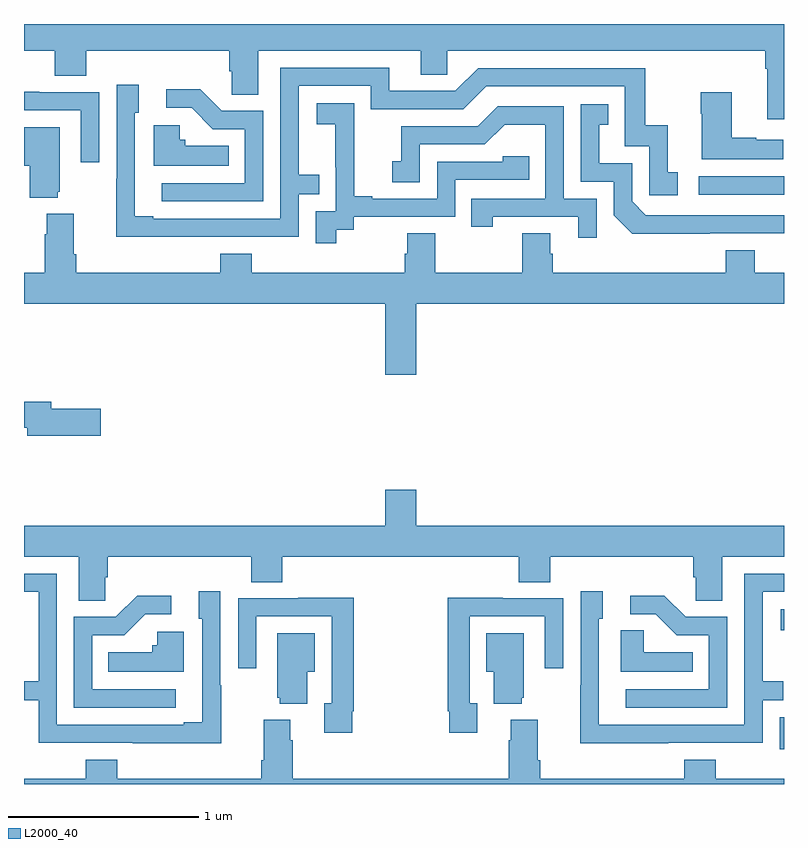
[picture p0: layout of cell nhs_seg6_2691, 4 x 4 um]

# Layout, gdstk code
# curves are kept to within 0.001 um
import gdstk
lib = gdstk.Library(unit=1e-6, precision=1e-09)
def R(c, l, rs):  # rectangles x0, y0, x1, y1
    for r in rs: c.add(gdstk.rectangle(r[:2], r[2:], *l))
def P(c, l, *ps):  # polygons
    for p in ps: c.add(gdstk.Polygon(p, *l))
L2000_40 = (2000, 40)

nhs_seg6_2691 = lib.new_cell('nhs_seg6_2691')
R(nhs_seg6_2691, L2000_40, [(274.977,919.683,275,919.851), (274.983,920.309,275,920.419), (274.551,922.602,275,922.698)])
P(nhs_seg6_2691, L2000_40, [(275,923.5),(271,923.5),(271,923.36),(271.163,923.36),(271.163,923.227),(271.328,923.227),(271.328,923.36),(272.081,923.36),(272.081,923.251),(272.094,923.251),(272.094,923.128),(272.233,923.128),(272.233,923.36),(273.089,923.36),(273.089,923.233),(273.228,923.233),(273.228,923.36),(274.901,923.36),(274.901,923.264),(274.913,923.264),(274.913,922.998),(275,922.998)],
  [(271.949,922.38),(272.445,922.38),(272.445,922.605),(272.555,922.605),(272.555,922.706),(272.445,922.706),(272.445,923.175),(272.826,923.175),(272.826,923.052),(273.312,923.052),(273.432,923.172),(274.161,923.172),(274.161,922.857),(274.29,922.857),(274.29,922.599),(274.441,922.599),(274.441,922.719),(274.388,922.719),(274.388,922.966),(274.27,922.966),(274.27,923.268),(273.39,923.268),(273.27,923.148),(272.923,923.148),(272.923,923.271),(272.349,923.271),(272.349,922.476),(271.681,922.476),(271.681,922.489),(271.584,922.489),(271.584,923.034),(271.603,923.034),(271.603,923.179),(271.488,923.179),(271.488,922.685),(271.486,922.685),(271.486,922.379)],
  [(272.259,923.043),(272.04,923.043),(271.927,923.156),(271.749,923.156),(271.749,923.058),(271.883,923.058),(271.994,922.947),(272.163,922.947),(272.163,922.662),(271.725,922.662),(271.725,922.566),(272.259,922.566)],
  [(271.395,923.142),(271.079,923.142),(271.079,923.144),(271,923.144),(271,923.046),(271.299,923.046),(271.299,922.773),(271.395,922.773)],
  [(274.996,922.891),(274.853,922.891),(274.853,922.901),(274.726,922.901),(274.726,923.14),(274.561,923.14),(274.561,923.027),(274.568,923.027),(274.568,922.787),(274.996,922.787)],
  [(272.644,922.417),(272.736,922.417),(272.736,922.485),(273.27,922.485),(273.27,922.68),(273.659,922.68),(273.659,922.803),(273.519,922.803),(273.519,922.776),(273.174,922.776),(273.174,922.581),(272.833,922.581),(272.833,922.594),(272.738,922.594),(272.738,922.877),(272.739,922.877),(272.739,923.083),(272.541,923.083),(272.541,922.973),(272.639,922.973),(272.639,922.745),(272.64,922.745),(272.64,922.515),(272.535,922.515),(272.535,922.347),(272.644,922.347)],
  [(274.61,922.398),(275,922.398),(275,922.494),(274.272,922.494),(274.2,922.566),(274.2,922.767),(274.027,922.767),(274.027,922.971),(274.076,922.971),(274.076,923.077),(273.93,923.077),(273.93,922.671),(274.104,922.671),(274.104,922.494),(274.202,922.397)],
  [(274.014,922.581),(273.84,922.581),(273.84,923.067),(273.494,923.067),(273.389,922.962),(272.986,922.962),(272.986,922.777),(272.937,922.777),(272.937,922.668),(273.084,922.668),(273.084,922.866),(273.426,922.866),(273.53,922.97),(273.744,922.97),(273.744,922.581),(273.355,922.581),(273.355,922.434),(273.466,922.434),(273.466,922.485),(273.917,922.485),(273.917,922.374),(274.014,922.374)],
  [(272.078,922.858),(271.848,922.858),(271.848,922.89),(271.821,922.89),(271.821,922.966),(271.682,922.966),(271.682,922.754),(272.078,922.754)],
  [(271.178,922.617),(271.189,922.617),(271.189,922.957),(271,922.957),(271,922.754),(271.031,922.754),(271.031,922.586),(271.178,922.586)],
  [(273.064,922.028),(275,922.028),(275,922.192),(274.846,922.192),(274.846,922.309),(274.694,922.309),(274.694,922.192),(273.782,922.192),(273.782,922.29),(273.769,922.29),(273.769,922.4),(273.622,922.4),(273.622,922.192),(273.165,922.192),(273.165,922.4),(273.017,922.4),(273.017,922.29),(273.005,922.29),(273.005,922.192),(272.198,922.192),(272.198,922.291),(272.033,922.291),(272.033,922.192),(271.274,922.192),(271.274,922.288),(271.261,922.288),(271.261,922.501),(271.121,922.501),(271.121,922.394),(271.109,922.394),(271.109,922.192),(271,922.192),(271,922.028),(272.9,922.028),(272.9,921.654),(273.064,921.654)],
  [(271.405,921.476),(271.144,921.476),(271.144,921.512),(271,921.512),(271,921.376),(271.016,921.376),(271.016,921.334),(271.405,921.334)],
  [(271.428,920.587),(271.442,920.587),(271.442,920.696),(272.195,920.696),(272.195,920.563),(272.36,920.563),(272.36,920.696),(273.605,920.696),(273.605,920.563),(273.77,920.563),(273.77,920.696),(274.523,920.696),(274.523,920.587),(274.536,920.587),(274.536,920.464),(274.675,920.464),(274.675,920.696),(275,920.696),(275,920.86),(273.064,920.86),(273.064,921.049),(272.9,921.049),(272.9,920.86),(271,920.86),(271,920.696),(271.289,920.696),(271.289,920.464),(271.428,920.464)],
  [(274.391,919.716),(274.887,919.716),(274.887,919.941),(274.997,919.941),(274.997,920.042),(274.887,920.042),(274.887,920.511),(275,920.511),(275,920.607),(274.791,920.607),(274.791,919.812),(274.026,919.812),(274.026,920.37),(274.045,920.37),(274.045,920.515),(273.93,920.515),(273.93,920.021),(273.928,920.021),(273.928,919.715),(274.391,919.715)],
  [(272.037,920.021),(272.034,920.021),(272.034,920.515),(271.919,920.515),(271.919,920.37),(271.938,920.37),(271.938,919.825),(271.841,919.825),(271.841,919.812),(271.173,919.812),(271.173,920.607),(271,920.607),(271,920.511),(271.077,920.511),(271.077,920.042),(271,920.042),(271,919.941),(271.077,919.941),(271.077,919.716),(271.573,919.716),(271.573,919.715),(272.037,919.715)],
  [(274.701,920.379),(274.482,920.379),(274.369,920.492),(274.191,920.492),(274.191,920.394),(274.325,920.394),(274.436,920.283),(274.605,920.283),(274.605,919.998),(274.167,919.998),(274.167,919.902),(274.701,919.902)],
  [(271.798,919.998),(271.359,919.998),(271.359,920.283),(271.528,920.283),(271.639,920.394),(271.774,920.394),(271.774,920.492),(271.595,920.492),(271.482,920.379),(271.263,920.379),(271.263,919.902),(271.798,919.902)],
  [(272.728,919.882),(272.735,919.882),(272.735,920.48),(272.443,920.48),(272.443,920.478),(272.127,920.478),(272.127,920.109),(272.223,920.109),(272.223,920.382),(272.619,920.382),(272.619,919.926),(272.579,919.926),(272.579,919.77),(272.728,919.77)],
  [(273.385,919.926),(273.345,919.926),(273.345,920.382),(273.741,920.382),(273.741,920.109),(273.837,920.109),(273.837,920.478),(273.521,920.478),(273.521,920.48),(273.229,920.48),(273.229,919.882),(273.237,919.882),(273.237,919.77),(273.385,919.77)],
  [(274.52,920.194),(274.263,920.194),(274.263,920.309),(274.142,920.309),(274.142,920.09),(274.52,920.09)],
  [(271.84,920.302),(271.701,920.302),(271.701,920.229),(271.675,920.229),(271.675,920.194),(271.444,920.194),(271.444,920.09),(271.84,920.09)],
  [(272.491,920.09),(272.53,920.09),(272.53,920.293),(272.333,920.293),(272.333,919.953),(272.345,919.953),(272.345,919.922),(272.491,919.922)],
  [(273.62,919.953),(273.631,919.953),(273.631,920.293),(273.434,920.293),(273.434,920.09),(273.473,920.09),(273.473,919.922),(273.62,919.922)],
  [(275,919.528),(274.64,919.528),(274.64,919.627),(274.475,919.627),(274.475,919.528),(273.716,919.528),(273.716,919.624),(273.703,919.624),(273.703,919.837),(273.563,919.837),(273.563,919.73),(273.551,919.73),(273.551,919.528),(272.414,919.528),(272.414,919.73),(272.401,919.73),(272.401,919.837),(272.261,919.837),(272.261,919.624),(272.249,919.624),(272.249,919.528),(271.49,919.528),(271.49,919.627),(271.325,919.627),(271.325,919.528),(271,919.528),(271,919.5),(275,919.5)])

lib.write_gds('nhs_seg6_2691.gds')
